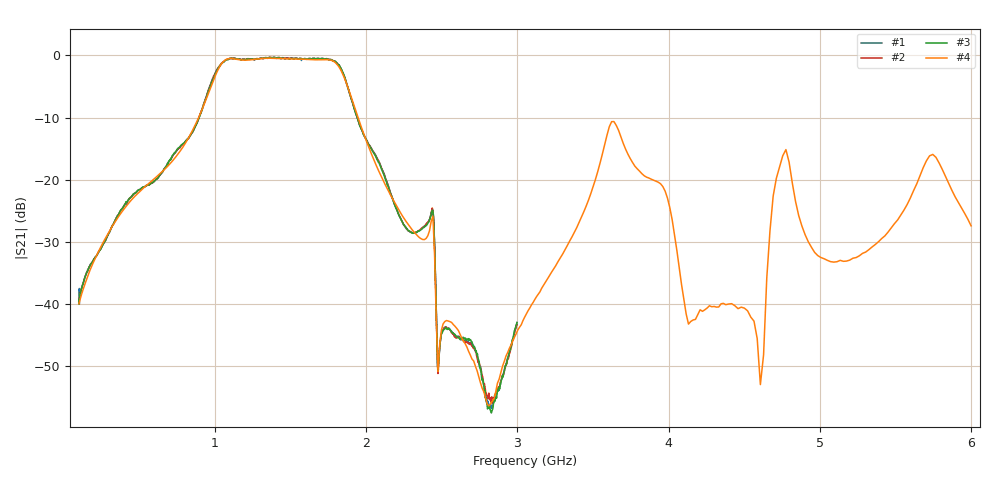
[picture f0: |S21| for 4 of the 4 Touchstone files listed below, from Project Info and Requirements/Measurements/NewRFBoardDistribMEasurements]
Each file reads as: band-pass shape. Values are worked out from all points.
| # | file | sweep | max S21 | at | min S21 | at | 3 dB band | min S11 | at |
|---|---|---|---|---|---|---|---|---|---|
| 1 | 2 port distrib filter.s2p | 100 MHz to 2.997 GHz | -0.31 dB | 1.359 GHz | -56.7 dB | 2.828 GHz | 993.9 MHz-1.853 GHz | -23.6 dB | 1.356 GHz |
| 2 | 2 port distrib minus65ps.s2p | 100 MHz to 2.997 GHz | -0.32 dB | 1.367 GHz | -55.9 dB | 2.833 GHz | 991 MHz-1.853 GHz | -24.2 dB | 1.494 GHz |
| 3 | 2 port distrib minus65psSECONDMEASUREMENT.s2p | 100 MHz to 2.997 GHz | -0.35 dB | 1.396 GHz | -57.5 dB | 2.828 GHz | 996.7 MHz-1.853 GHz | -21.5 dB | 1.505 GHz |
| 4 | BigBoyVNAFilterMeasurements.S2P | 100 MHz to 6 GHz | -0.47 dB | 1.353 GHz | -56.3 dB | 2.812 GHz | 1 GHz-1.846 GHz | -29.8 dB | 1.359 GHz |
